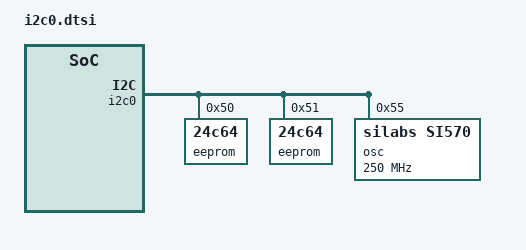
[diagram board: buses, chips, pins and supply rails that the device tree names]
/*
 * list devices on I2C bus
 */

&i2c0 {
	eeprom@50 {
		compatible = "24c64";
		reg = <0x50>;
		pagesize = <32>;
	};

	eeprom@51 {
		compatible = "24c64";
		reg = <0x51>;
		pagesize = <32>;
	};

	osc@55 {
		#clock-cells = <0>;
		compatible = "silabs,si570";
		reg = <0x55>;
		factory-fout = <100000000>;
		clock-frequency = <250000000>;
		temperature-stability = <50>;
	};
};
